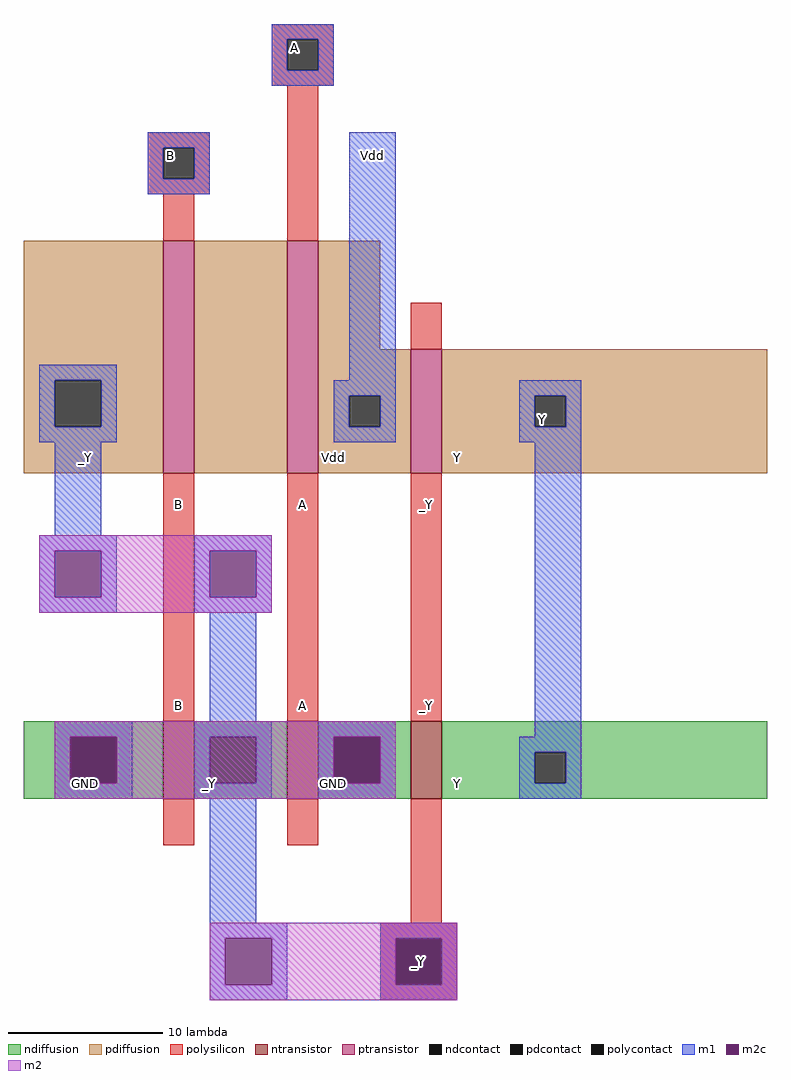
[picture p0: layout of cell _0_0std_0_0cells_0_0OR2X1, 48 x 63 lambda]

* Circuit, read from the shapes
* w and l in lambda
.subckt _0_0std_0_0cells_0_0OR2X1 A B GND Vdd Y _Y
M1 _Y B GND VSUBS nfet w=5 l=2
M2 GND A _Y VSUBS nfet w=5 l=2
M3 Y _Y GND VSUBS nfet w=5 l=2
M4 n1 B _Y NWELL pfet w=15 l=2
M5 Vdd A n1 NWELL pfet w=15 l=2
M6 Y _Y Vdd NWELL pfet w=8 l=2
.ends

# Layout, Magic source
magic
tech TSMC180
<< ndiffusion >>
rect 3 11 12 12
rect 3 8 6 11
rect 9 8 12 11
rect 3 7 12 8
rect 14 11 20 12
rect 14 8 15 11
rect 18 8 20 11
rect 14 7 20 8
rect 22 11 28 12
rect 22 8 23 11
rect 26 8 28 11
rect 22 7 28 8
rect 30 10 51 12
rect 30 8 36 10
rect 38 8 51 10
rect 30 7 51 8
<< ndcontact >>
rect 6 8 9 11
rect 15 8 18 11
rect 23 8 26 11
rect 36 8 38 10
<< ntransistor >>
rect 12 7 14 12
rect 20 7 22 12
rect 28 7 30 12
<< pdiffusion >>
rect 3 34 12 43
rect 3 31 5 34
rect 8 31 12 34
rect 3 28 12 31
rect 14 28 20 43
rect 22 36 26 43
rect 22 33 28 36
rect 22 31 24 33
rect 26 31 28 33
rect 22 28 28 31
rect 30 33 51 36
rect 30 31 36 33
rect 38 31 51 33
rect 30 28 51 31
<< pdcontact >>
rect 5 31 8 34
rect 24 31 26 33
rect 36 31 38 33
<< ptransistor >>
rect 12 28 14 43
rect 20 28 22 43
rect 28 28 30 36
<< polysilicon >>
rect 19 56 23 57
rect 19 54 20 56
rect 22 54 23 56
rect 19 53 23 54
rect 11 49 15 50
rect 11 47 12 49
rect 14 47 15 49
rect 11 46 15 47
rect 12 43 14 46
rect 20 43 22 53
rect 28 36 30 39
rect 12 12 14 28
rect 20 12 22 28
rect 28 12 30 28
rect 12 4 14 7
rect 20 4 22 7
rect 28 -1 30 7
rect 26 -2 31 -1
rect 26 -5 27 -2
rect 30 -5 31 -2
rect 26 -6 31 -5
<< polycontact >>
rect 20 54 22 56
rect 12 47 14 49
rect 27 -5 30 -2
<< m1 >>
rect 19 56 23 57
rect 19 54 20 56
rect 22 54 23 56
rect 19 53 23 54
rect 11 49 15 50
rect 11 47 12 49
rect 14 47 15 49
rect 11 46 15 47
rect 4 34 9 35
rect 24 34 27 50
rect 4 31 5 34
rect 8 31 9 34
rect 4 30 9 31
rect 23 33 27 34
rect 23 31 24 33
rect 26 31 27 33
rect 23 30 27 31
rect 35 33 39 34
rect 35 31 36 33
rect 38 31 39 33
rect 35 30 39 31
rect 5 24 8 30
rect 4 23 9 24
rect 4 20 5 23
rect 8 20 9 23
rect 4 19 9 20
rect 14 23 19 24
rect 14 20 15 23
rect 18 20 19 23
rect 14 19 19 20
rect 15 12 18 19
rect 5 11 10 12
rect 5 8 6 11
rect 9 8 10 11
rect 5 7 10 8
rect 14 11 19 12
rect 14 8 15 11
rect 18 8 19 11
rect 14 7 19 8
rect 22 11 27 12
rect 36 11 39 30
rect 22 8 23 11
rect 26 8 27 11
rect 22 7 27 8
rect 35 10 39 11
rect 35 8 36 10
rect 38 8 39 10
rect 35 7 39 8
rect 15 -1 18 7
rect 15 -2 20 -1
rect 15 -5 16 -2
rect 19 -5 20 -2
rect 15 -6 20 -5
rect 26 -2 31 -1
rect 26 -5 27 -2
rect 30 -5 31 -2
rect 26 -6 31 -5
<< m2c >>
rect 5 20 8 23
rect 15 20 18 23
rect 6 8 9 11
rect 23 8 26 11
rect 16 -5 19 -2
rect 27 -5 30 -2
<< m2 >>
rect 4 23 19 24
rect 4 20 5 23
rect 8 20 15 23
rect 18 20 19 23
rect 4 19 19 20
rect 5 11 27 12
rect 5 8 6 11
rect 9 8 23 11
rect 26 8 27 11
rect 5 7 27 8
rect 15 -2 31 -1
rect 15 -5 16 -2
rect 19 -5 27 -2
rect 30 -5 31 -2
rect 15 -6 31 -5
<< labels >>
rlabel pdiffusion 31 29 31 29 3 Y
rlabel ndiffusion 31 8 31 8 3 Y
rlabel polysilicon 29 13 29 13 3 _Y
rlabel polysilicon 29 26 29 26 3 _Y
rlabel ndiffusion 23 8 23 8 3 GND
rlabel pdiffusion 23 29 23 29 3 Vdd
rlabel polysilicon 21 13 21 13 3 A
rlabel polysilicon 21 26 21 26 3 A
rlabel ndiffusion 15 8 15 8 3 _Y
rlabel polysilicon 13 13 13 13 3 B
rlabel polysilicon 13 26 13 26 3 B
rlabel ndiffusion 7 8 7 8 3 GND
rlabel pdiffusion 7 29 7 29 3 _Y
rlabel m2 28 -4 29 -3 1 _Y
rlabel pdcontact 36 31 37 32 1 Y
rlabel m1 25 48 26 49 5 Vdd
rlabel polycontact 20 55 21 56 5 A
rlabel polycontact 12 48 13 49 1 B
<< end >>
